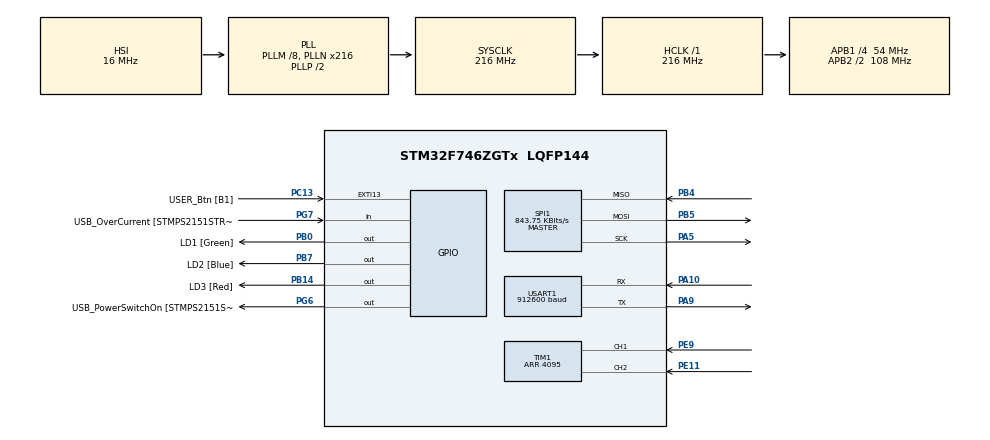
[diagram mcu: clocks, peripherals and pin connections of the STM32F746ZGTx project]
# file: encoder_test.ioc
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Mcu.Family=STM32F7
Mcu.Name=STM32F746ZGTx
Mcu.Package=LQFP144
NVIC.PriorityGroup=NVIC_PRIORITYGROUP_4
PA1.GPIO_Label=RMII_REF_CLK [LAN8742A-CZ-TR_REFCLK0]
PA1.Signal=ETH_REF_CLK
PA10.Mode=Asynchronous
PA10.Signal=USART1_RX
PA11.GPIO_Label=USB_DM
PA11.Signal=USB_OTG_FS_DM
PA12.GPIO_Label=USB_DP
PA12.Signal=USB_OTG_FS_DP
PA13.GPIO_Label=TMS
PA13.Signal=SYS_JTMS-SWDIO
PA14.GPIO_Label=TCK
PA14.Signal=SYS_JTCK-SWCLK
PA2.GPIO_Label=RMII_MDIO [LAN8742A-CZ-TR_MDIO]
PA2.Signal=ETH_MDIO
PA4.GPIO_Label=NSS
PA4.Signal=SPI1_NSS
PA5.Mode=Full_Duplex_Master
PA5.Signal=SPI1_SCK
PA7.GPIO_Label=RMII_CRS_DV [LAN8742A-CZ-TR_CRS_DV]
PA7.Signal=ETH_CRS_DV
PA8.GPIO_Label=USB_SOF [TP1]
PA8.Signal=USB_OTG_FS_SOF
PA9.Mode=Asynchronous
PA9.Signal=USART1_TX
PB0.GPIO_Label=LD1 [Green]
PB0.Signal=GPIO_Output
PB13.GPIO_Label=RMII_TXD1 [LAN8742A-CZ-TR_TXD1]
PB13.Signal=ETH_TXD1
PB14.GPIO_Label=LD3 [Red]
PB14.Signal=GPIO_Output
PB3.GPIO_Label=SW0
PB3.Signal=SYS_JTDO-SWO
PB4.Mode=Full_Duplex_Master
PB4.Signal=SPI1_MISO
PB5.Mode=Full_Duplex_Master
PB5.Signal=SPI1_MOSI
PB7.GPIO_Label=LD2 [Blue]
PB7.Signal=GPIO_Output
PC1.GPIO_Label=RMII_MDC [LAN8742A-CZ-TR_MDC]
PC1.Signal=ETH_MDC
PC13.GPIO_Label=USER_Btn [B1]
PC13.Signal=GPXTI13
PC14/OSC32_IN.Signal=RCC_OSC32_IN
PC15/OSC32_OUT.Signal=RCC_OSC32_OUT
PC4.GPIO_Label=RMII_RXD0 [LAN8742A-CZ-TR_RXD0]
PC4.Signal=ETH_RXD0
PC5.GPIO_Label=RMII_RXD1 [LAN8742A-CZ-TR_RXD1]
PC5.Signal=ETH_RXD1
PD8.GPIO_Label=STLK_RX [STM32F103CBT6_PA3]
PD8.Signal=USART3_TX
PD9.GPIO_Label=STLK_TX [STM32F103CBT6_PA2]
PD9.Signal=USART3_RX
PE11.Signal=S_TIM1_CH2
PE9.Signal=S_TIM1_CH1
PG11.GPIO_Label=RMII_TX_EN [LAN8742A-CZ-TR_TXEN]
PG11.Signal=ETH_TX_EN
PG13.GPIO_Label=RMII_TXD0 [LAN8742A-CZ-TR_TXD0]
PG13.Signal=ETH_TXD0
PG6.GPIO_Label=USB_PowerSwitchOn [STMPS2151STR_EN]
PG6.Signal=GPIO_Output
PG7.GPIO_Label=USB_OverCurrent [STMPS2151STR_FAULT]
PG7.Signal=GPIO_Input
PH0/OSC_IN.GPIO_Label=MCO [STM32F103CBT6_PA8]
PH0/OSC_IN.Mode=HSE-External-Oscillator
PH0/OSC_IN.Signal=RCC_OSC_IN
PH1/OSC_OUT.Mode=HSE-External-Oscillator
PH1/OSC_OUT.Signal=RCC_OSC_OUT
ProjectManager.HeapSize=0x200
ProjectManager.StackSize=0x400
ProjectManager.TargetToolchain=MDK-ARM V5
RCC.48MHZClocksFreq_Value=24000000
RCC.AHBFreq_Value=216000000
RCC.APB1CLKDivider=RCC_HCLK_DIV4
RCC.APB1Freq_Value=54000000
RCC.APB1TimFreq_Value=108000000
RCC.APB2CLKDivider=RCC_HCLK_DIV2
RCC.APB2Freq_Value=108000000
RCC.APB2TimFreq_Value=216000000
RCC.CortexFreq_Value=216000000
RCC.HCLKFreq_Value=216000000
RCC.HSE_VALUE=8000000
RCC.HSI_VALUE=16000000
RCC.LSE_VALUE=32768
RCC.PLLM=8
RCC.PLLMUL=RCC_PLL_MUL9
RCC.PLLN=216
RCC.PRESCALERUSB=RCC_USBCLKSOURCE_PLL_DIV1_5
RCC.SYSCLKFreq_VALUE=216000000
RCC.SYSCLKSource=RCC_SYSCLKSOURCE_PLLCLK
RCC.SYSCLKSourceVirtual=RCC_SYSCLKSOURCE_PLLCLK
RCC.USBFreq_Value=216000000
RCC.VCOOutputFreq_Value=432000000
SH.S_TIM1_CH1.0=TIM1_CH1,Encoder_Interface
SH.S_TIM1_CH2.0=TIM1_CH2,Encoder_Interface
SPI1.BaudRatePrescaler=SPI_BAUDRATEPRESCALER_128
SPI1.CalculateBaudRate=843.75 KBits/s
SPI1.DataSize=SPI_DATASIZE_8BIT
SPI1.Direction=SPI_DIRECTION_2LINES
SPI1.Mode=SPI_MODE_MASTER
SPI1.VirtualType=VM_MASTER
TIM1.AutoReloadPreload=TIM_AUTORELOAD_PRELOAD_ENABLE
TIM1.EncoderMode=TIM_ENCODERMODE_TI12
TIM1.Period=4095
USART1.BaudRate=912600
USART1.VirtualMode-Asynchronous=VM_ASYNC
board=NUCLEO-F746ZG

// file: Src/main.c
/* USER CODE BEGIN Header */
/**
  ******************************************************************************
  * @file           : main.c
  * @brief          : Main program body
  ******************************************************************************
  * @attention
  *
  * <h2><center>&copy; Copyright (c) 2019 STMicroelectronics.
  * All rights reserved.</center></h2>
  *
  * This software component is licensed by ST under BSD 3-Clause license,
  * the "License"; You may not use this file except in compliance with the
  * License. You may obtain a copy of the License at:
  *                        opensource.org/licenses/BSD-3-Clause
  *
  ******************************************************************************
  */
/* USER CODE END Header */

#include "main.h"

/* USER CODE BEGIN Includes */

#include <stdio.h>
#include <stdarg.h>
#include <string.h>

/* USER CODE END Includes */

SPI_HandleTypeDef hspi1;

TIM_HandleTypeDef htim1;

UART_HandleTypeDef huart1;

/* USER CODE BEGIN PV */

//data and ready
uint8_t position[2];
uint16_t initPos = 0;
uint16_t quadraturePos = 0;
uint16_t bitMask = 0xFFF;
uint8_t ffBuff[10] = {0xff,0xff,0xff,0xff,0xff,0xff,0xff,0xff,0xff,0xff};

//for setting 1s run time
uint32_t start = 0;
uint32_t waitTime = 1000U;
uint32_t counter = 0;

/* USER CODE END PV */

void SystemClock_Config(void);
static void MX_GPIO_Init(void);
static void MX_SPI1_Init(void);
static void MX_USART1_UART_Init(void);
static void MX_TIM1_Init(void);
/* USER CODE BEGIN PFP */

void vprint(const char *fmt, va_list argp);
void my_printf(const char *fmt, ...);

//dwt: used to create us delays
void DWT_Init(void);
void DWT_Delay(uint32_t usDelay);

//package read value from encoder. directly modifies posArray
void getAMTPos(uint8_t *posArray);

/* USER CODE END PFP */

/* USER CODE BEGIN 0 */

void vprint(const char *fmt, va_list argp)
{
    char string[200];
    if(0 < vsprintf(string,fmt,argp)) // build string
    {
        HAL_UART_Transmit(&huart1, (uint8_t*)string, strlen(string), 0xffffff); // send message via UART
    }
}

void my_printf(const char *fmt, ...) // custom printf() function
{
    va_list argp;
    va_start(argp, fmt);
    vprint(fmt, argp);
    va_end(argp);
}

/*
 * Initialization of DWT
 */
void DWT_Init(void)
{
	//allow access to DWT (unlock)
  DWT->LAR = 0xC5ACCE55;
	CoreDebug->DEMCR |= CoreDebug_DEMCR_TRCENA_Msk;
	DWT->CYCCNT = 0;
	DWT->CTRL |= DWT_CTRL_CYCCNTENA_Msk;
}

/*
* Delay routine: time is in microseconds.
* @param uint32_t us  Number of microseconds to delay for
*/
void DWT_Delay(uint32_t usDelay)
{
    uint32_t startTick = DWT->CYCCNT,
             delayTicks = usDelay * (SystemCoreClock/1000000);

    while (DWT->CYCCNT - startTick < delayTicks);
}

//encoder reading
void getAMTPos(uint8_t *posArray) {
	//var to help track status and commands
	uint8_t readyToRecv = 0;
	uint8_t READPOS = 0x10;		//read command

	//nop command
	uint8_t NOP = 0x00;				//NOP command

	//send read command
	GPIOA->BSRR = 0x100000U;
	HAL_SPI_TransmitReceive(&hspi1, &READPOS, &readyToRecv, 1, 0xFFFF);
	GPIOA->BSRR = 0x0010U;
	DWT_Delay(5);

	//keep read until get 10 (ready)
	while (readyToRecv != 0x10) {
		GPIOA->BSRR = 0x100000U;
		HAL_SPI_TransmitReceive(&hspi1, &NOP, &readyToRecv, 1, 0xFFFF);
		GPIOA->BSRR = 0x0010U;
		DWT_Delay(30);
	}

	//now is ready: get two bytes that is the 12 bit position
	DWT_Delay(5);
	GPIOA->BSRR = 0x100000U;
	HAL_SPI_TransmitReceive(&hspi1, &NOP, position, 1, 0xFFFF);
	GPIOA->BSRR = 0x0010U;

	DWT_Delay(5);
	GPIOA->BSRR = 0x100000U;
	HAL_SPI_TransmitReceive(&hspi1, &NOP, position + 1, 1, 0xFFFF);
	GPIOA->BSRR = 0x0010U;

	//pause so encoder has time to get ready for next read
	DWT_Delay(120);
}

/* USER CODE END 0 */

int main(void)
{

  /* MCU Configuration--------------------------------------------------------*/

  /* Reset of all peripherals, Initializes the Flash interface and the Systick. */
  HAL_Init();

  /* Configure the system clock */
  SystemClock_Config();

  /* Initialize all configured peripherals */
  MX_GPIO_Init();
  MX_SPI1_Init();
  MX_USART1_UART_Init();
  MX_TIM1_Init();
  /* USER CODE BEGIN 2 */

	//enable encoder, init DWT and timer in encoder mode
	HAL_GPIO_WritePin(NSS_GPIO_Port,NSS_Pin, GPIO_PIN_RESET);
	DWT_Init();
	HAL_TIM_Encoder_Start(&htim1, TIM_CHANNEL_ALL);

	//get the initial position
	getAMTPos(position);
	initPos = (((uint16_t) position[0]) << 8) | position[1];

  /* USER CODE END 2 */

  /* Infinite loop */
  while (1)
  {

    /* USER CODE BEGIN 3 */

		//read for 1s
		start = HAL_GetTick();
		counter = 0;

		while ((HAL_GetTick() - start) < 1000) {
			getAMTPos(position);
			counter++;

			//calculate the position from the quadrature signal from the encoder
			//read the timer counter, add to initial, keep only the lower 12 bits
			quadraturePos = (htim1.Instance->CNT + initPos) & bitMask;

		}

  }
  /* USER CODE END 3 */
}

void SystemClock_Config(void)
{
  RCC_OscInitTypeDef RCC_OscInitStruct = {0};
  RCC_ClkInitTypeDef RCC_ClkInitStruct = {0};
  RCC_PeriphCLKInitTypeDef PeriphClkInitStruct = {0};

  /** Configure the main internal regulator output voltage
  */
  __HAL_RCC_PWR_CLK_ENABLE();
  __HAL_PWR_VOLTAGESCALING_CONFIG(PWR_REGULATOR_VOLTAGE_SCALE1);
  /** Initializes the CPU, AHB and APB busses clocks
  */
  RCC_OscInitStruct.OscillatorType = RCC_OSCILLATORTYPE_HSI;
  RCC_OscInitStruct.HSIState = RCC_HSI_ON;
  RCC_OscInitStruct.HSICalibrationValue = RCC_HSICALIBRATION_DEFAULT;
  RCC_OscInitStruct.PLL.PLLState = RCC_PLL_ON;
  RCC_OscInitStruct.PLL.PLLSource = RCC_PLLSOURCE_HSI;
  RCC_OscInitStruct.PLL.PLLM = 8;
  RCC_OscInitStruct.PLL.PLLN = 216;
  RCC_OscInitStruct.PLL.PLLP = RCC_PLLP_DIV2;
  RCC_OscInitStruct.PLL.PLLQ = 2;
  if (HAL_RCC_OscConfig(&RCC_OscInitStruct) != HAL_OK)
  {
    Error_Handler();
  }
  /** Activate the Over-Drive mode
  */
  if (HAL_PWREx_EnableOverDrive() != HAL_OK)
  {
    Error_Handler();
  }
  /** Initializes the CPU, AHB and APB busses clocks
  */
  RCC_ClkInitStruct.ClockType = RCC_CLOCKTYPE_HCLK|RCC_CLOCKTYPE_SYSCLK
                              |RCC_CLOCKTYPE_PCLK1|RCC_CLOCKTYPE_PCLK2;
  RCC_ClkInitStruct.SYSCLKSource = RCC_SYSCLKSOURCE_PLLCLK;
  RCC_ClkInitStruct.AHBCLKDivider = RCC_SYSCLK_DIV1;
  RCC_ClkInitStruct.APB1CLKDivider = RCC_HCLK_DIV4;
  RCC_ClkInitStruct.APB2CLKDivider = RCC_HCLK_DIV2;

  if (HAL_RCC_ClockConfig(&RCC_ClkInitStruct, FLASH_LATENCY_7) != HAL_OK)
  {
    Error_Handler();
  }
  PeriphClkInitStruct.PeriphClockSelection = RCC_PERIPHCLK_USART1;
  PeriphClkInitStruct.Usart1ClockSelection = RCC_USART1CLKSOURCE_PCLK2;
  if (HAL_RCCEx_PeriphCLKConfig(&PeriphClkInitStruct) != HAL_OK)
  {
    Error_Handler();
  }
}

static void MX_SPI1_Init(void)
{

  /* SPI1 parameter configuration*/
  hspi1.Instance = SPI1;
  hspi1.Init.Mode = SPI_MODE_MASTER;
  hspi1.Init.Direction = SPI_DIRECTION_2LINES;
  hspi1.Init.DataSize = SPI_DATASIZE_8BIT;
  hspi1.Init.CLKPolarity = SPI_POLARITY_LOW;
  hspi1.Init.CLKPhase = SPI_PHASE_1EDGE;
  hspi1.Init.NSS = SPI_NSS_SOFT;
  hspi1.Init.BaudRatePrescaler = SPI_BAUDRATEPRESCALER_128;
  hspi1.Init.FirstBit = SPI_FIRSTBIT_MSB;
  hspi1.Init.TIMode = SPI_TIMODE_DISABLE;
  hspi1.Init.CRCCalculation = SPI_CRCCALCULATION_DISABLE;
  hspi1.Init.CRCPolynomial = 7;
  hspi1.Init.CRCLength = SPI_CRC_LENGTH_DATASIZE;
  hspi1.Init.NSSPMode = SPI_NSS_PULSE_ENABLE;
  if (HAL_SPI_Init(&hspi1) != HAL_OK)
  {
    Error_Handler();
  }

}

static void MX_TIM1_Init(void)
{

  TIM_Encoder_InitTypeDef sConfig = {0};
  TIM_MasterConfigTypeDef sMasterConfig = {0};

  htim1.Instance = TIM1;
  htim1.Init.Prescaler = 0;
  htim1.Init.CounterMode = TIM_COUNTERMODE_UP;
  htim1.Init.Period = 4095;
  htim1.Init.ClockDivision = TIM_CLOCKDIVISION_DIV1;
  htim1.Init.RepetitionCounter = 0;
  htim1.Init.AutoReloadPreload = TIM_AUTORELOAD_PRELOAD_ENABLE;
  sConfig.EncoderMode = TIM_ENCODERMODE_TI12;
  sConfig.IC1Polarity = TIM_ICPOLARITY_RISING;
  sConfig.IC1Selection = TIM_ICSELECTION_DIRECTTI;
  sConfig.IC1Prescaler = TIM_ICPSC_DIV1;
  sConfig.IC1Filter = 0;
  sConfig.IC2Polarity = TIM_ICPOLARITY_RISING;
  sConfig.IC2Selection = TIM_ICSELECTION_DIRECTTI;
  sConfig.IC2Prescaler = TIM_ICPSC_DIV1;
  sConfig.IC2Filter = 0;
  if (HAL_TIM_Encoder_Init(&htim1, &sConfig) != HAL_OK)
  {
    Error_Handler();
  }
  sMasterConfig.MasterOutputTrigger = TIM_TRGO_RESET;
  sMasterConfig.MasterOutputTrigger2 = TIM_TRGO2_RESET;
  sMasterConfig.MasterSlaveMode = TIM_MASTERSLAVEMODE_DISABLE;
  if (HAL_TIMEx_MasterConfigSynchronization(&htim1, &sMasterConfig) != HAL_OK)
  {
    Error_Handler();
  }

}

static void MX_USART1_UART_Init(void)
{

  huart1.Instance = USART1;
  huart1.Init.BaudRate = 912600;
  huart1.Init.WordLength = UART_WORDLENGTH_8B;
  huart1.Init.StopBits = UART_STOPBITS_1;
  huart1.Init.Parity = UART_PARITY_NONE;
  huart1.Init.Mode = UART_MODE_TX_RX;
  huart1.Init.HwFlowCtl = UART_HWCONTROL_NONE;
  huart1.Init.OverSampling = UART_OVERSAMPLING_16;
  huart1.Init.OneBitSampling = UART_ONE_BIT_SAMPLE_DISABLE;
  huart1.AdvancedInit.AdvFeatureInit = UART_ADVFEATURE_NO_INIT;
  if (HAL_UART_Init(&huart1) != HAL_OK)
  {
    Error_Handler();
  }

}

static void MX_GPIO_Init(void)
{
  GPIO_InitTypeDef GPIO_InitStruct = {0};

  /* GPIO Ports Clock Enable */
  __HAL_RCC_GPIOC_CLK_ENABLE();
  __HAL_RCC_GPIOH_CLK_ENABLE();
  __HAL_RCC_GPIOA_CLK_ENABLE();
  __HAL_RCC_GPIOB_CLK_ENABLE();
  __HAL_RCC_GPIOE_CLK_ENABLE();
  __HAL_RCC_GPIOD_CLK_ENABLE();
  __HAL_RCC_GPIOG_CLK_ENABLE();

  /*Configure GPIO pin Output Level */
  HAL_GPIO_WritePin(GPIOB, LD1_Pin|LD3_Pin|LD2_Pin, GPIO_PIN_RESET);

  /*Configure GPIO pin Output Level */
  HAL_GPIO_WritePin(USB_PowerSwitchOn_GPIO_Port, USB_PowerSwitchOn_Pin, GPIO_PIN_RESET);

  /*Configure GPIO pin : USER_Btn_Pin */
  GPIO_InitStruct.Pin = USER_Btn_Pin;
  GPIO_InitStruct.Mode = GPIO_MODE_IT_RISING;
  GPIO_InitStruct.Pull = GPIO_NOPULL;
  HAL_GPIO_Init(USER_Btn_GPIO_Port, &GPIO_InitStruct);

  /*Configure GPIO pins : RMII_MDC_Pin RMII_RXD0_Pin RMII_RXD1_Pin */
  GPIO_InitStruct.Pin = RMII_MDC_Pin|RMII_RXD0_Pin|RMII_RXD1_Pin;
  GPIO_InitStruct.Mode = GPIO_MODE_AF_PP;
  GPIO_InitStruct.Pull = GPIO_NOPULL;
  GPIO_InitStruct.Speed = GPIO_SPEED_FREQ_VERY_HIGH;
  GPIO_InitStruct.Alternate = GPIO_AF11_ETH;
  HAL_GPIO_Init(GPIOC, &GPIO_InitStruct);

  /*Configure GPIO pins : RMII_REF_CLK_Pin RMII_MDIO_Pin RMII_CRS_DV_Pin */
  GPIO_InitStruct.Pin = RMII_REF_CLK_Pin|RMII_MDIO_Pin|RMII_CRS_DV_Pin;
  GPIO_InitStruct.Mode = GPIO_MODE_AF_PP;
  GPIO_InitStruct.Pull = GPIO_NOPULL;
  GPIO_InitStruct.Speed = GPIO_SPEED_FREQ_VERY_HIGH;
  GPIO_InitStruct.Alternate = GPIO_AF11_ETH;
  HAL_GPIO_Init(GPIOA, &GPIO_InitStruct);

  /*Configure GPIO pins : LD1_Pin LD3_Pin LD2_Pin */
  GPIO_InitStruct.Pin = LD1_Pin|LD3_Pin|LD2_Pin;
  GPIO_InitStruct.Mode = GPIO_MODE_OUTPUT_PP;
  GPIO_InitStruct.Pull = GPIO_NOPULL;
  GPIO_InitStruct.Speed = GPIO_SPEED_FREQ_LOW;
  HAL_GPIO_Init(GPIOB, &GPIO_InitStruct);

  /*Configure GPIO pin : RMII_TXD1_Pin */
  GPIO_InitStruct.Pin = RMII_TXD1_Pin;
  GPIO_InitStruct.Mode = GPIO_MODE_AF_PP;
  GPIO_InitStruct.Pull = GPIO_NOPULL;
  GPIO_InitStruct.Speed = GPIO_SPEED_FREQ_VERY_HIGH;
  GPIO_InitStruct.Alternate = GPIO_AF11_ETH;
  HAL_GPIO_Init(RMII_TXD1_GPIO_Port, &GPIO_InitStruct);

  /*Configure GPIO pins : STLK_RX_Pin STLK_TX_Pin */
  GPIO_InitStruct.Pin = STLK_RX_Pin|STLK_TX_Pin;
  GPIO_InitStruct.Mode = GPIO_MODE_AF_PP;
  GPIO_InitStruct.Pull = GPIO_NOPULL;
  GPIO_InitStruct.Speed = GPIO_SPEED_FREQ_VERY_HIGH;
  GPIO_InitStruct.Alternate = GPIO_AF7_USART3;
  HAL_GPIO_Init(GPIOD, &GPIO_InitStruct);

  /*Configure GPIO pin : USB_PowerSwitchOn_Pin */
  GPIO_InitStruct.Pin = USB_PowerSwitchOn_Pin;
  GPIO_InitStruct.Mode = GPIO_MODE_OUTPUT_PP;
  GPIO_InitStruct.Pull = GPIO_NOPULL;
  GPIO_InitStruct.Speed = GPIO_SPEED_FREQ_LOW;
  HAL_GPIO_Init(USB_PowerSwitchOn_GPIO_Port, &GPIO_InitStruct);

  /*Configure GPIO pin : USB_OverCurrent_Pin */
  GPIO_InitStruct.Pin = USB_OverCurrent_Pin;
  GPIO_InitStruct.Mode = GPIO_MODE_INPUT;
  GPIO_InitStruct.Pull = GPIO_NOPULL;
  HAL_GPIO_Init(USB_OverCurrent_GPIO_Port, &GPIO_InitStruct);

  /*Configure GPIO pins : USB_SOF_Pin USB_DM_Pin USB_DP_Pin */
  GPIO_InitStruct.Pin = USB_SOF_Pin|USB_DM_Pin|USB_DP_Pin;
  GPIO_InitStruct.Mode = GPIO_MODE_AF_PP;
  GPIO_InitStruct.Pull = GPIO_NOPULL;
  GPIO_InitStruct.Speed = GPIO_SPEED_FREQ_VERY_HIGH;
  GPIO_InitStruct.Alternate = GPIO_AF10_OTG_FS;
  HAL_GPIO_Init(GPIOA, &GPIO_InitStruct);

  /*Configure GPIO pins : RMII_TX_EN_Pin RMII_TXD0_Pin */
  GPIO_InitStruct.Pin = RMII_TX_EN_Pin|RMII_TXD0_Pin;
  GPIO_InitStruct.Mode = GPIO_MODE_AF_PP;
  GPIO_InitStruct.Pull = GPIO_NOPULL;
  GPIO_InitStruct.Speed = GPIO_SPEED_FREQ_VERY_HIGH;
  GPIO_InitStruct.Alternate = GPIO_AF11_ETH;
  HAL_GPIO_Init(GPIOG, &GPIO_InitStruct);

}

void Error_Handler(void)
{
}

/************************ (C) COPYRIGHT STMicroelectronics *****END OF FILE****/
